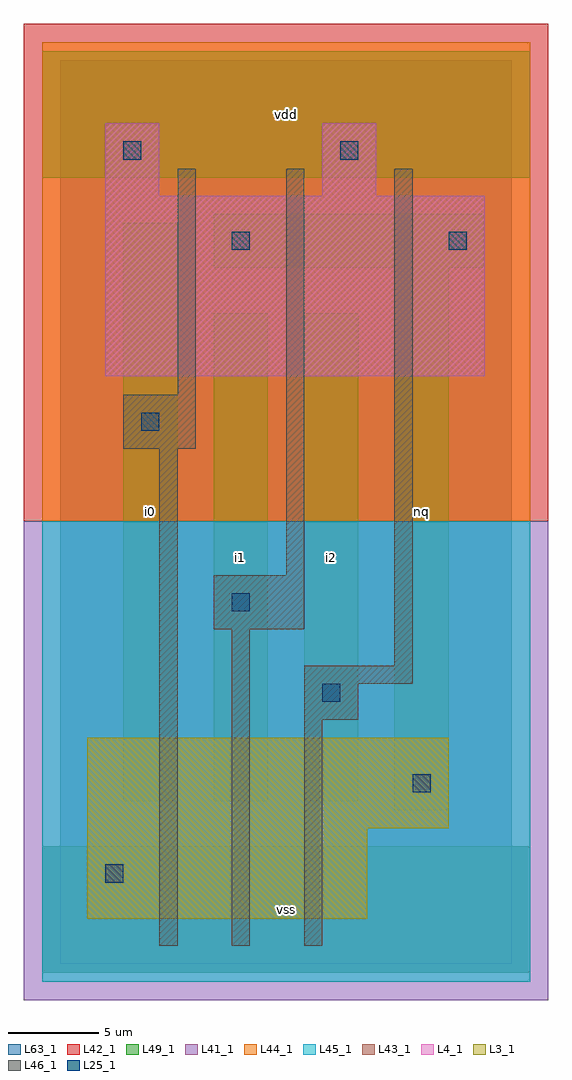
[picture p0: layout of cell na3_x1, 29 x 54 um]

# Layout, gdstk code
import gdstk
lib = gdstk.Library(unit=1e-6, precision=1e-09)
def R(c, l, rs):  # rectangles x0, y0, x1, y1
    for r in rs: c.add(gdstk.rectangle(r[:2], r[2:], *l))
L3_1 = (3, 1)
L4_1 = (4, 1)
L25_1 = (25, 1)
L41_1 = (41, 1)
L42_1 = (42, 1)
L43_1 = (43, 1)
L44_1 = (44, 1)
L45_1 = (45, 1)
L46_1 = (46, 1)
L49_1 = (49, 1)
L63_1 = (63, 1)

na3_x1 = lib.new_cell('na3_x1')
R(na3_x1, L3_1, [(1.5,2.5,17,7.5), (1.5,7.5,21.5,12.5)])
R(na3_x1, L4_1, [(2.5,32.5,23.5,42.5), (2.5,42.5,5.5,46.5), (14.5,42.5,17.5,46.5)])
R(na3_x1, L25_1, [(2.5,4.5,3.5,5.5), (19.5,9.5,20.5,10.5), (14.5,14.5,15.5,15.5), (9.5,19.5,10.5,20.5), (4.5,29.5,5.5,30.5), (9.5,39.5,10.5,40.5), (21.5,39.5,22.5,40.5), (3.5,44.5,4.5,45.5), (15.5,44.5,16.5,45.5)])
R(na3_x1, L41_1, [(-2,-2,27,24.5)])
R(na3_x1, L42_1, [(-2,24.5,27,52)])
R(na3_x1, L43_1, [(1.5,2.5,17,7.5), (1.5,7.5,21.5,12.5), (2.5,32.5,23.5,42.5), (2.5,42.5,5.5,46.5), (14.5,42.5,17.5,46.5)])
R(na3_x1, L44_1, [(-1,24.5,26,51)])
R(na3_x1, L45_1, [(-1,-1,26,24.5)])
R(na3_x1, L46_1, [(5.5,1,6.5,28.5), (9.5,1,10.5,18.5), (13.5,1,14.5,13.5), (13.5,13.5,16.5,15.5), (13.5,15.5,19.5,16.5), (18.5,16.5,19.5,44), (8.5,18.5,13.5,21.5), (12.5,21.5,13.5,44), (3.5,28.5,7.5,31.5), (6.5,31.5,7.5,44)])
R(na3_x1, L49_1, [(-1,-0.5,26,6.5), (18.5,8.5,21.5,38.5), (3.5,9,6.5,41), (8.5,9,11.5,36), (13.5,9,16.5,36), (8.5,38.5,23.5,41.5), (-1,43.5,26,50.5)])
R(na3_x1, L63_1, [(0,0,25,50)])
na3_x1.add(gdstk.Label('i1', (10,22.5), layer=49, texttype=1))
na3_x1.add(gdstk.Label('i1', (10,22.5), layer=49, texttype=1))
na3_x1.add(gdstk.Label('i0', (5,25), layer=49, texttype=1))
na3_x1.add(gdstk.Label('i0', (5,25), layer=49, texttype=1))
na3_x1.add(gdstk.Label('vss', (12.5,3), layer=49, texttype=1))
na3_x1.add(gdstk.Label('vss', (12.5,3), layer=49, texttype=1))
na3_x1.add(gdstk.Label('i2', (15,22.5), layer=49, texttype=1))
na3_x1.add(gdstk.Label('i2', (15,22.5), layer=49, texttype=1))
na3_x1.add(gdstk.Label('vdd', (12.5,47), layer=49, texttype=1))
na3_x1.add(gdstk.Label('vdd', (12.5,47), layer=49, texttype=1))
na3_x1.add(gdstk.Label('nq', (20,25), layer=49, texttype=1))
na3_x1.add(gdstk.Label('nq', (20,25), layer=49, texttype=1))

lib.write_gds('na3_x1.gds')
